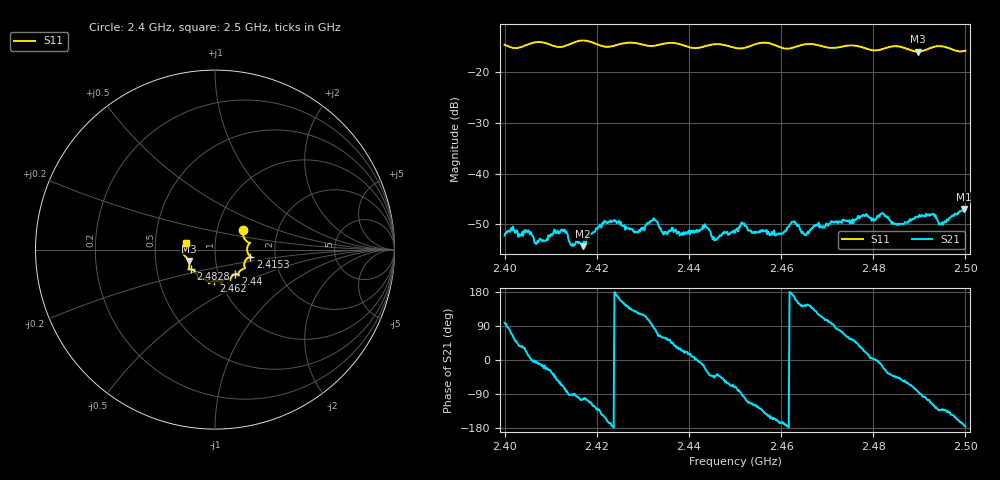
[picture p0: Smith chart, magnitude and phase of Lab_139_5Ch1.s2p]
# Hz S RI R 50
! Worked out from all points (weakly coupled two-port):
!   601 points, 2.4 GHz to 2.5 GHz, reference 50 ohm
!   highest |S21| = -47.00 dB at 2.4997 GHz (marker M1); lowest = -54.3 dB at 2.417 GHz (marker M2)
!   lowest |S11| = -15.9 dB at 2.4897 GHz (marker M3), VSWR 1.38, Z = 36.9 - j4.82 ohm
!   |S11| at or under -10 dB: start of sweep to end of sweep
!   S12 and S22 are empty: the file has one direction only
!   S11 on the Smith chart (normalised r, x): 2.4 GHz: 1.33, +0.29; 2.4153 GHz: 1.48, -0.12; 2.44 GHz: 1.21, -0.34; 2.462 GHz: 0.93, -0.33; 2.4828 GHz: 0.74, -0.17; 2.5 GHz: 0.72, +0.06
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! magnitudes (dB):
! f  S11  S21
! 2.4 GHz  -14.5  -52.3
! 2.4048 GHz  -14.5  -51.3
! 2.407 GHz  -14.0  -53.7
! 2.4127 GHz  -14.9  -51.4
! 2.4153 GHz  -14.0  -54.0
! 2.4167 GHz  -13.7  -53.8
! 2.417 GHz  -13.7  -54.3
! 2.4217 GHz  -14.9  -49.3
! 2.4285 GHz  -14.2  -51.6
! 2.4333 GHz  -14.6  -50.1
! 2.44 GHz  -15.0  -51.2
! 2.4457 GHz  -14.4  -53.0
! 2.45 GHz  -15.1  -51.6
! 2.4592 GHz  -14.8  -52.0
! 2.462 GHz  -15.2  -50.0
! 2.4667 GHz  -14.4  -50.9
! 2.4828 GHz  -15.1  -48.5
! 2.4833 GHz  -15.0  -48.8
! 2.4897 GHz  -15.9  -48.6
! 2.4948 GHz  -14.8  -50.0
! 2.4997 GHz  -15.8  -47.0
! 2.5 GHz  -15.7  -47.1
